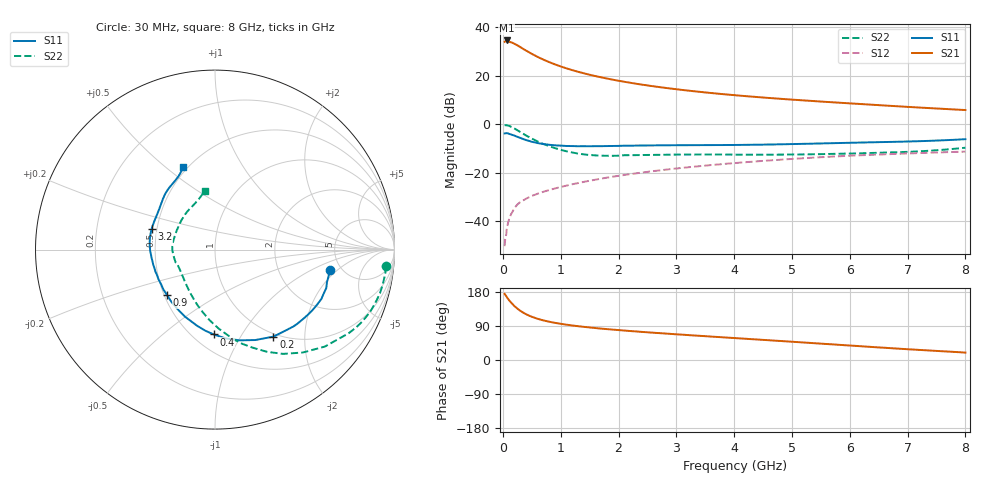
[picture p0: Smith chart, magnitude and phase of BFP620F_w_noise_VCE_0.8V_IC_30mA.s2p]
! Infineon Technologies  Discrete & RF Semiconductors
! BFP620F
! VCE =  0.8 V,  IC =  30 mA
! Common Emitter S-Parameters:  Dec 2014
# GHz  S  MA  R  50
!  f  S11  S21  S12  S22
! GHz  MAG  ANG  MAG  ANG  MAG  ANG  MAG  ANG
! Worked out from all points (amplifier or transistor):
!   95 points, 30 MHz to 8 GHz, reference 50 ohm
!   highest |S21| = 34.5 dB at 70 MHz (marker M1)
!   |S21| within 3 dB of that: start of sweep to 319.8 MHz
!   unconditionally stable (mu >= 1): 2.428 GHz to end of sweep
!   at 300 MHz: K = 0.38, MSG = 31.9 dB, |S12| = -32.0 dB
!   at 3.3 GHz: K = 1.02, MAG = 14.6 dB, |S12| = -17.5 dB
!   at 8 GHz: K = 1.06, MAG = 7.1 dB, |S12| = -11.3 dB
!   lowest NFmin = 1.13 dB at 450 MHz
!   S11 on the Smith chart (normalised r, x): 30 MHz: 4.04, -1.59; 200 MHz: 0.96, -1.41; 400 MHz: 0.63, -0.76; 900 MHz: 0.52, -0.30; 3.2 GHz: 0.47, +0.12; 8 GHz: 0.47, +0.57
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0.03  0.6489 -10.1  49.7 174.4  0.0031 90.0  0.9559 -5.6
0.05  0.6496 -16.3  52.05 170.0  0.0046 77.5  0.9555 -10.3
0.07  0.6533 -22.0  53 165.6  0.0076 82.7  0.9505 -14.8
0.1  0.6414 -30.8  51.08 159.3  0.0103 77.1  0.9319 -21.6
0.12  0.6278 -36.9  49.4 155.4  0.0124 76.9  0.9132 -26.0
0.15  0.6114 -44.6  48.44 150.2  0.0146 73.1  0.878 -32.1
0.2  0.5842 -56.1  45.3 142.3  0.0188 69.8  0.8166 -41.4
0.25  0.5515 -66.0  42.13 135.7  0.0223 66.3  0.7539 -49.5
0.3  0.5236 -74.9  38.85 130.0  0.025 64.1  0.6944 -56.8
0.4  0.4728 -90.8  32.88 120.9  0.0293 60.8  0.5876 -68.7
0.5  0.4363 -103.1  28.11 114.1  0.0335 59.6  0.5078 -78.6
0.6  0.4102 -113.7  24.36 108.8  0.0372 58.8  0.443 -87.0
0.7  0.3913 -122.4  21.4 104.5  0.0408 58.9  0.3935 -94.6
0.9  0.3683 -136.5  17.07 98.1  0.0477 59.1  0.3231 -107.8
1.4  0.3538 -159.7  11.19 87.5  0.0652 59.7  0.2399 -136.0
1.9  0.3572 -174.4  8.268 80.2  0.0834 59.2  0.2242 -157.5
2.7  0.3683 169.9  5.832 71.0  0.112 55.9  0.2348 -174.7
3.2  0.371 162.2  4.932 65.8  0.1301 53.5  0.2382 178.3
4.1  0.376 150.3  3.88 57.0  0.1622 48.0  0.2367 167.1
5.4  0.4003 137.3  2.987 44.2  0.2066 38.7  0.2419 146.5
6.7  0.433 124.4  2.393 31.3  0.2432 28.5  0.2634 125.0
8  0.493 111.2  1.961 19.5  0.2733 18.6  0.329 100.2
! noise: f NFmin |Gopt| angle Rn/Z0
0.45  1.13  0.05  -172  0.18
0.9  1.16  0.05  -171  0.14
1.5  1.18  0.12  -148  0.15
1.8  1.19  0.12  -147  0.16
1.9  1.19  0.12  -146  0.16
2.4  1.21  0.12  -146  0.17
3.5  1.27  0.14  -141  0.18
5.5  1.42  0.21  241  0.13
6  1.47  0.22  260  0.16
